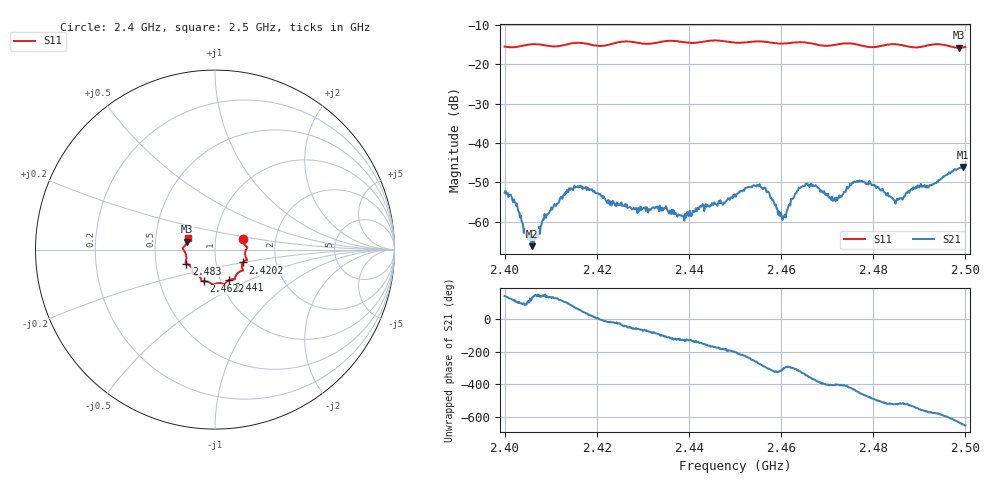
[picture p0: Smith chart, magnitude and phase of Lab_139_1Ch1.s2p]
# Hz S RI R 50
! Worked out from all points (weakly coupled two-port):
!   601 points, 2.4 GHz to 2.5 GHz, reference 50 ohm
!   highest |S21| = -46.08 dB at 2.4995 GHz (marker M1); lowest = -66.2 dB at 2.406 GHz (marker M2)
!   lowest |S11| = -15.8 dB at 2.4987 GHz (marker M3), VSWR 1.39, Z = 36.4 + j3.3 ohm
!   |S11| at or under -10 dB: start of sweep to end of sweep
!   S12 and S22 are empty: the file has one direction only
!   S11 on the Smith chart (normalised r, x): 2.4 GHz: 1.36, +0.17; 2.4202 GHz: 1.35, -0.20; 2.441 GHz: 1.10, -0.39; 2.4622 GHz: 0.83, -0.30; 2.483 GHz: 0.72, -0.12; 2.5 GHz: 0.73, +0.09
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2.4e9  0.1564 0.0604  -0.00184 0.00143  0 0  0 0
2.4025e9  0.1634 0.0313  -0.000493 0.00151  0 0  0 0
2.4045e9  0.174 0.0172  -1.33e-05 0.000731  0 0  0 0
2.406e9  0.1794 0.0134  -0.000348 0.000342  0 0  0 0
2.413167e9  0.1715 -0.0427  -0.000609 0.00227  0 0  0 0
2.416667e9  0.1775 -0.0584  0.00171 0.0021  0 0  0 0
2.420167e9  0.1561 -0.0718  0.00229 0.000279  0 0  0 0
2.433333e9  0.1131 -0.1524  -1.55e-05 -0.00147  0 0  0 0
2.441e9  0.0768 -0.1703  -0.00102 -0.000907  0 0  0 0
2.45e9  0.0266 -0.1863  -0.00203 0.000913  0 0  0 0
2.455333e9  -0.0113 -0.1952  0.000348 0.00298  0 0  0 0
2.460167e9  -0.0446 -0.1776  0.000795 0.000764  0 0  0 0
2.462167e9  -0.0631 -0.1763  0.000978 0.00169  0 0  0 0
2.466667e9  -0.0766 -0.1668  0.00284 -0.000194  0 0  0 0
2.471333e9  -0.109 -0.1375  0.00131 -0.00131  0 0  0 0
2.477e9  -0.125 -0.1232  3.98e-07 -0.00335  0 0  0 0
2.483e9  -0.1592 -0.078  -0.00207 -0.000833  0 0  0 0
2.483333e9  -0.1607 -0.0774  -0.00197 -0.000697  0 0  0 0
2.485333e9  -0.1635 -0.0718  -0.00181 -0.000539  0 0  0 0
2.498667e9  -0.1558 0.0442  0.000399 0.00477  0 0  0 0
2.4995e9  -0.1535 0.0557  0.00146 0.00475  0 0  0 0
2.5e9  -0.1529 0.0628  0.00192 0.00455  0 0  0 0
